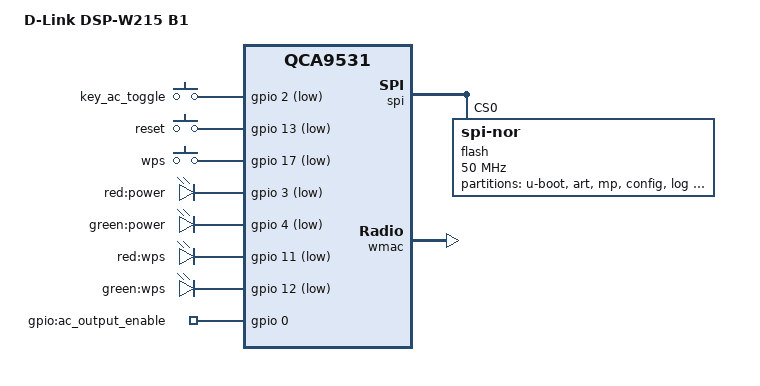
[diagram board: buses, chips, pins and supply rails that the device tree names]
// SPDX-License-Identifier: GPL-2.0-or-later OR MIT

#include <dt-bindings/gpio/gpio.h>
#include <dt-bindings/input/input.h>

#include "qca953x.dtsi"

/ {
	model = "D-Link DSP-W215 B1";
	compatible = "dlink,dsp-w215-b1", "qca,qca9531";

	aliases {
		led-boot = &led_power_green;
		led-failsafe = &led_power_red;
		led-running = &led_power_green;
		led-upgrade = &led_power_red;
	};

	pinmux@18050000 {
		compatible = "pinctrl-single";

		reg = <0x18050000 0x4>;

		#size-cells = <0>;

		pinctrl-single,bit-per-mux;
		pinctrl-single,register-width = <32>;
		pinctrl-single,function-mask = <0x1>;
		#pinctrl-cells = <2>;

		cpu_pll_400: pinmux_cpu_pll_400 {
			pinctrl-single,bits = <0x0 0x000400 0x000fc0>;
		};

		cpu_pll_500: pinmux_cpu_pll_500 {
			pinctrl-single,bits = <0x0 0x000500 0x000fc0>;
		};
	};

	keys {
		compatible = "gpio-keys";

		pinctrl-names = "default";
		pinctrl-0 = <&cpu_pll_400>;

		key_ac_toggle {
			label = "key_ac_toggle";
			linux,code = <BTN0>;
			gpios = <&gpio 2 GPIO_ACTIVE_LOW>;
		};

		reset {
			label = "reset";
			linux,code = <KEY_RESTART>;
			gpios = <&gpio 13 GPIO_ACTIVE_LOW>;
		};

		wps {
			label = "wps";
			linux,code = <KEY_WPS_BUTTON>;
			gpios = <&gpio 17 GPIO_ACTIVE_LOW>;
		};
	};

	leds {
		compatible = "gpio-leds";

		led_power_red: power_red {
			label = "red:power";
			gpios = <&gpio 3 GPIO_ACTIVE_LOW>;
		};

		led_power_green: power_green {
			label = "green:power";
			gpios = <&gpio 4 GPIO_ACTIVE_LOW>;
			default-state = "on";
		};

		wps_red {
			label = "red:wps";
			gpios = <&gpio 11 GPIO_ACTIVE_LOW>;
		};

		wps_green {
			label = "green:wps";
			gpios = <&gpio 12 GPIO_ACTIVE_LOW>;
		};
	};

	gpio-export {
		compatible = "gpio-export";

		ac_output_enable {
			gpio-export,name = "gpio:ac_output_enable";
			gpio-export,output = <0>;
			gpios = <&gpio 0 GPIO_ACTIVE_HIGH>;
		};
	};
};

&spi {
	status = "okay";

	flash@0 {
		compatible = "jedec,spi-nor";
		reg = <0>;
		spi-max-frequency = <50000000>;

		partitions {
			compatible = "fixed-partitions";
			#address-cells = <1>;
			#size-cells = <1>;

			partition@0 {
				label = "u-boot";
				reg = <0x0 0x10000>;
				read-only;
			};

			partition@10000 {
				label = "art";
				reg = <0x10000 0x10000>;
				read-only;

				compatible = "nvmem-cells";
				#address-cells = <1>;
				#size-cells = <1>;

				cal_art_1000: cal@1000 {
					reg = <0x1000 0x440>;
				};
			};

			partition@20000 {
				label = "mp";
				reg = <0x20000 0x10000>;
				read-only;
			};

			partition@30000 {
				label = "config";
				reg = <0x30000 0x10000>;
				read-only;
			};

			partition@40000 {
				label = "log";
				reg = <0x40000 0x10000>;
				read-only;
			};

			partition@50000 {
				label = "recovery";
				reg = <0x50000 0x260000>;
				read-only;
			};

			partition@2b0000 {
				label = "firmware";
				reg = <0x2b0000 0x550000>;
				compatible = "denx,uimage";
			};
		};
	};
};

&mdio1 {
	status = "disabled";
};

&eth1 {
	status = "disabled";
};

&wmac {
	status = "okay";

	nvmem-cells = <&cal_art_1000>;
	nvmem-cell-names = "calibration";
};
